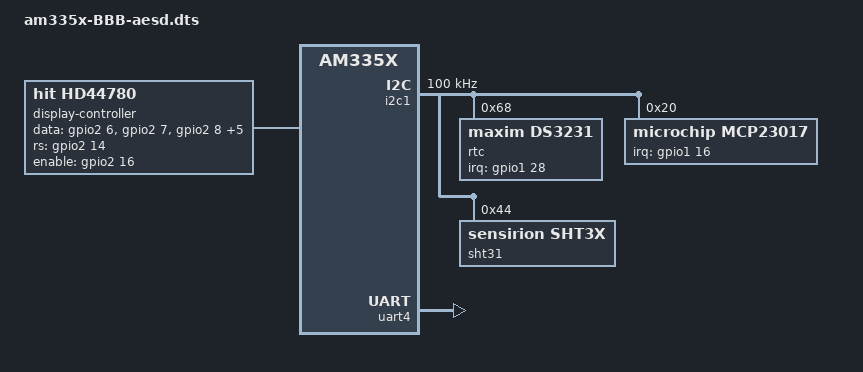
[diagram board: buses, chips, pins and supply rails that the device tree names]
/dts-v1/;
#include "am335x-boneblack.dts"
#include <dt-bindings/pinctrl/am33xx.h>
#include <dt-bindings/gpio/gpio.h>
#include <dt-bindings/interrupt-controller/irq.h>

/* Free the LCD/HDMI pins used by the parallel bus */
&lcdc     { status = "disabled"; };
&tda19988 { status = "disabled"; };

&am33xx_pinmux {
	i2c1_aesd_pins: i2c1-aesd-pins {
		pinctrl-single,pins = <
			AM33XX_PADCONF(AM335X_PIN_SPI0_CS0, PIN_INPUT_PULLUP, MUX_MODE2) /* P9.17 SCL */
			AM33XX_PADCONF(AM335X_PIN_SPI0_D1, PIN_INPUT_PULLUP, MUX_MODE2)  /* P9.18 SDA */
		>;
	};

    uart4_aesd_pins: uart4-aesd-pins {
		pinctrl-single,pins = <
			AM33XX_PADCONF(AM335X_PIN_GPMC_WAIT0, PIN_INPUT_PULLUP, MUX_MODE6)  /* P9.11 RX */
			AM33XX_PADCONF(AM335X_PIN_GPMC_WPN, PIN_OUTPUT, MUX_MODE6) /* P9.13 TX */
		>;
	};

	rtc_int_pins: rtc-int-pins {
		pinctrl-single,pins = <
			AM33XX_PADCONF(AM335X_PIN_GPMC_BEN1, PIN_INPUT_PULLUP, MUX_MODE7) /* P9.12 gpio1_28 */
		>;
	};

	
	mcp_int_pins: mcp-int-pins {
		pinctrl-single,pins = <
			AM33XX_PADCONF(AM335X_PIN_GPMC_A0, PIN_INPUT_PULLUP, MUX_MODE7) /* P9.15 gpio1_16 */
		>;
	};

    parallel_bus_pins: parallel-bus-pins {
		pinctrl-single,pins = <
            AM33XX_IOPAD(0x8a0, PIN_OUTPUT | MUX_MODE7)		/* D0 P8.45 gpio2_6  */
			AM33XX_IOPAD(0x8a4, PIN_OUTPUT | MUX_MODE7)		/* D1 P8.46 gpio2_7  */
			AM33XX_IOPAD(0x8a8, PIN_OUTPUT | MUX_MODE7)		/* D2 P8.43 gpio2_8  */
			AM33XX_IOPAD(0x8ac, PIN_OUTPUT | MUX_MODE7)		/* D3 P8.44 gpio2_9  */
			AM33XX_IOPAD(0x8b0, PIN_OUTPUT | MUX_MODE7)		/* D4 P8.41 gpio2_10 */
			AM33XX_IOPAD(0x8b4, PIN_OUTPUT | MUX_MODE7)		/* D5 P8.42 gpio2_11 */
			AM33XX_IOPAD(0x8b8, PIN_OUTPUT | MUX_MODE7)		/* D6 P8.39 gpio2_12 */
			AM33XX_IOPAD(0x8bc, PIN_OUTPUT | MUX_MODE7)		/* D7 P8.40 gpio2_13 */
			AM33XX_IOPAD(0x8c0, PIN_OUTPUT_PULLDOWN | MUX_MODE7)		/* lcd_rs p8.37 was lcd8  gpio2_14 */
			AM33XX_IOPAD(0x8c4, PIN_OUTPUT_PULLDOWN | MUX_MODE7)		/* lcd_r/w   p8.38  was lcd9 gpio2_15 */
			AM33XX_IOPAD(0x8c8, PIN_OUTPUT_PULLDOWN | MUX_MODE7)		/* lcd_e   p8.36 was lcd_data10 gpio2_16 */
		>;
	};
};

&i2c1 {
	pinctrl-names = "default";
	pinctrl-0 = <&i2c1_aesd_pins>;
	clock-frequency = <100000>;
	status = "okay";

	rtc@68 {
  		compatible = "maxim,ds3231";
  		reg = <0x68>;
		pinctrl-names = "default";
		pinctrl-0 = <&rtc_int_pins>;
		interrupt-parent = <&gpio1>;
		interrupts = <28 IRQ_TYPE_EDGE_FALLING>;
		wakeup-source;
  	};

	mcp23017@20 {
		compatible = "microchip,mcp23017";
		reg = <0x20>;
		gpio-controller;
		#gpio-cells = <2>;
		interrupt-parent = <&gpio1>;
		interrupts = <16 IRQ_TYPE_EDGE_FALLING>;
		interrupt-controller;
		#interrupt-cells = <2>;
		microchip,irq-mirror;
		pinctrl-names = "default";
		pinctrl-0 = <&mcp_int_pins &mcp_pullups>;

		mcp_pullups: pinmux-mcp-pullups {
			pins = "gpio0", "gpio1", "gpio2", "gpio3",
			       "gpio4", "gpio5", "gpio6", "gpio7",
			       "gpio8", "gpio9", "gpio10", "gpio11",
			       "gpio12", "gpio13", "gpio14", "gpio15";
			bias-pull-up;
		};
	};

	sht31@44 {
		compatible = "sensirion,sht3x";
		reg = <0x44>;
	};

};

&uart4 {
	pinctrl-names = "default";
	pinctrl-0 = <&uart4_aesd_pins>;
	status = "okay";
};
/ {
	display-controller {
		compatible = "hit,hd44780";
		pinctrl-names = "default";
		pinctrl-0 = <&parallel_bus_pins>;

		data-gpios = <&gpio2 6 GPIO_ACTIVE_HIGH>,
					<&gpio2 7 GPIO_ACTIVE_HIGH>,
					<&gpio2 8 GPIO_ACTIVE_HIGH>,
					<&gpio2 9 GPIO_ACTIVE_HIGH>,
					<&gpio2 10 GPIO_ACTIVE_HIGH>,
					<&gpio2 11 GPIO_ACTIVE_HIGH>,
					<&gpio2 12 GPIO_ACTIVE_HIGH>,
					<&gpio2 13 GPIO_ACTIVE_HIGH>;
		rs-gpios = <&gpio2 14 GPIO_ACTIVE_HIGH>;
		enable-gpios = <&gpio2 16 GPIO_ACTIVE_HIGH>;

		display-height-chars = <2>;
		display-width-chars = <16>;
	};
};
/* https://claude.ai/chat/db6dcf0a-4540-4f63-9c76-6a0ade15652a */
